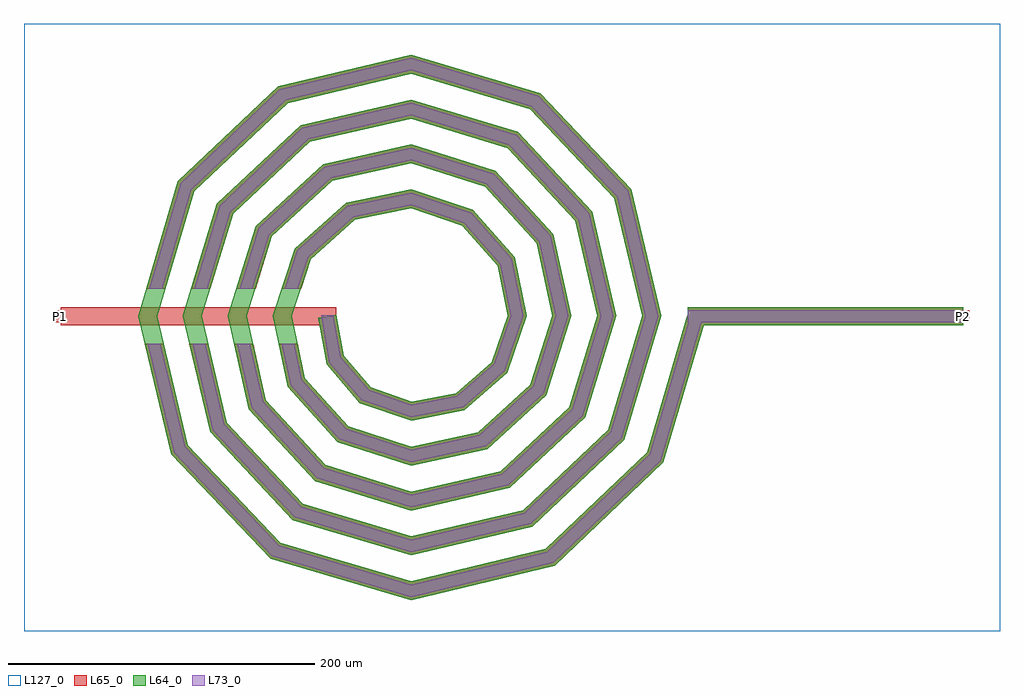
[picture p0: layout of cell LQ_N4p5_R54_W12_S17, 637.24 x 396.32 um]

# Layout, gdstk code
import gdstk
lib = gdstk.Library(unit=1e-6, precision=1e-09)
def R(c, l, rs):  # rectangles x0, y0, x1, y1
    for r in rs: c.add(gdstk.rectangle(r[:2], r[2:], *l))
def P(c, l, *ps):  # polygons
    for p in ps: c.add(gdstk.Polygon(p, *l))
L64_0 = (64, 0)
L65_0 = (65, 0)
L73_0 = (73, 0)
L127_0 = (127, 0)

lq_n4p5_r54_w12_s17 = lib.new_cell('LQ_N4p5_R54_W12_S17')
R(lq_n4p5_r54_w12_s17, L64_0, [(180.62,-6,360.62,6)])
P(lq_n4p5_r54_w12_s17, L64_0, [(-43.807,-25.864),(-26.245,-46.408),(0.456,-55.756),(29.48,-50.183),(52.73,-29.955),(63.087,0.408),(56.554,33.107),(33.657,59.058),(0.369,70.418),(-36.741,62.921),(-65.39,37.352),(-77.75,0.337),(-69.286,-40.381),(-41.043,-71.726),(0.31,-85.082),(44.024,-75.649),(78.064,-44.73),(92.414,0.287),(82.01,47.672),(48.414,84.403),(0.267,99.747),(-51.322,88.369),(-90.744,52.096),(-107.079,0.25),(-94.728,-54.974),(-55.776,-97.087),(0.235,-114.412),(58.627,-101.086),(103.43,-59.455),(121.745,0.221),(107.442,62.283),(63.132,109.775),(0.209,129.078),(-65.939,113.799),(-116.12,66.808),(-136.411,0.199),(-120.155,-69.597),(-70.484,-122.465),(0.189,-143.744),(73.255,-126.51),(128.811,-74.158),(151.077,0.18),(132.865,76.914),(77.832,135.158),(0.172,158.41),(-80.574,139.219),(-141.504,81.505),(-165.743,0.165),(-145.574,-84.234),(-85.177,-147.852),(0.158,-173.076),(87.895,-151.927),(154.199,-88.849),(180.864,1.695),(192.375,-1.695),(164.802,-95.326),(93.835,-162.839),(0.158,-185.496),(-91.665,-158.447),(-156.492,-90.163),(-178.163,0.165),(-152.093,88.004),(-86.49,150.144),(0.172,170.829),(84.344,145.738),(143.797,82.817),(163.496,0.18),(139.383,-80.684),(79.142,-137.451),(0.189,-156.162),(-77.025,-133.028),(-131.104,-75.468),(-148.829,0.199),(-126.671,73.367),(-71.792,124.758),(0.209,141.495),(69.71,120.315),(118.413,68.115),(134.162,0.221),(113.957,-66.054),(64.437,-112.068),(0.235,-126.828),(-62.399,-107.599),(-105.724,-60.757),(-119.494,0.25),(-101.24,58.746),(-57.076,99.381),(0.267,112.16),(55.095,94.88),(93.039,53.393),(104.826,0.287),(88.518,-51.446),(49.707,-86.699),(0.31,-97.492),(-47.799,-82.154),(-80.36,-46.017),(-90.157,0.337),(-75.788,44.157),(-42.324,74.023),(0.369,82.822),(40.519,69.418),(67.689,38.625),(75.487,0.408),(63.044,-36.887),(34.918,-61.358),(0.456,-68.151),(-33.264,-56.665),(-55.032,-31.201),(-60.523,-1.076),(-48.718,1.076)])
R(lq_n4p5_r54_w12_s17, L65_0, [(-228.62,-6,-48.62,6), (180.62,-6,360.62,6), (-232.62,-4,-224.62,4), (356.62,-4,364.62,4)])
P(lq_n4p5_r54_w12_s17, L65_0, [(-145.574,-84.235),(-85.177,-147.852),(0.158,-173.076),(87.895,-151.928),(154.199,-88.849),(180.864,1.695),(192.375,-1.695),(164.802,-95.326),(93.835,-162.839),(0.158,-185.496),(-91.665,-158.447),(-156.492,-90.163),(-173.805,-18),(-161.464,-18)],
  [(-120.155,-69.597),(-70.484,-122.465),(0.189,-143.744),(73.255,-126.51),(128.811,-74.158),(151.077,0.18),(132.865,76.914),(77.832,135.158),(0.172,158.41),(-80.574,139.219),(-141.505,81.505),(-160.352,18),(-172.87,18),(-152.093,88.004),(-86.49,150.144),(0.172,170.829),(84.344,145.738),(143.797,82.817),(163.496,0.18),(139.383,-80.684),(79.143,-137.451),(0.189,-156.162),(-77.025,-133.028),(-131.104,-75.468),(-144.566,-18),(-132.241,-18)],
  [(-94.728,-54.974),(-55.776,-97.087),(0.235,-114.412),(58.628,-101.086),(103.43,-59.455),(121.745,0.221),(107.443,62.283),(63.132,109.775),(0.209,129.078),(-65.939,113.799),(-116.12,66.808),(-130.9,18),(-143.438,18),(-126.672,73.367),(-71.792,124.758),(0.209,141.495),(69.71,120.315),(118.413,68.115),(134.162,0.221),(113.957,-66.054),(64.437,-112.068),(0.235,-126.828),(-62.399,-107.599),(-105.724,-60.757),(-115.375,-18),(-103.073,-18)],
  [(-69.286,-40.381),(-41.043,-71.726),(0.31,-85.082),(44.025,-75.649),(78.064,-44.73),(92.414,0.287),(82.01,47.672),(48.414,84.403),(0.267,99.747),(-51.322,88.369),(-90.744,52.096),(-101.384,18),(-113.955,18),(-101.24,58.746),(-57.076,99.381),(0.267,112.16),(55.095,94.88),(93.039,53.393),(104.826,0.287),(88.518,-51.446),(49.707,-86.699),(0.31,-97.492),(-47.8,-82.154),(-80.36,-46.017),(-86.282,-18),(-74.016,-18)],
  [(-26.245,-46.408),(0.457,-55.756),(29.48,-50.183),(52.73,-29.955),(63.087,0.408),(56.554,33.107),(33.657,59.058),(0.369,70.418),(-36.741,62.921),(-65.39,37.352),(-71.736,18),(-84.365,18),(-75.788,44.157),(-42.324,74.023),(0.369,82.823),(40.519,69.418),(67.689,38.625),(75.487,0.408),(63.045,-36.887),(34.918,-61.358),(0.457,-68.151),(-33.264,-56.665),(-55.032,-31.201),(-60.523,-1.076),(-48.718,1.076),(-43.807,-25.864)])
R(lq_n4p5_r54_w12_s17, L73_0, [(180.62,-4,360.62,4)])
P(lq_n4p5_r54_w12_s17, L73_0, [(-147.393,-85.223),(-86.259,-149.618),(0.105,-175.146),(88.885,-153.746),(155.966,-89.929),(182.783,1.13),(190.457,-1.13),(163.035,-94.246),(92.845,-161.021),(0.105,-183.426),(-90.583,-156.681),(-154.672,-89.175),(-171.748,-18),(-163.521,-18)],
  [(-121.98,-70.575),(-71.574,-124.226),(0.126,-145.814),(74.236,-128.333),(130.573,-75.246),(153.147,0.12),(134.687,77.898),(78.917,136.921),(0.115,160.48),(-81.56,141.04),(-143.269,82.588),(-162.438,18),(-170.783,18),(-150.328,86.921),(-85.504,148.324),(0.115,168.76),(83.258,143.975),(141.975,81.833),(161.426,0.12),(137.621,-79.596),(78.161,-135.627),(0.126,-154.093),(-75.935,-131.267),(-129.279,-74.489),(-142.512,-18),(-134.295,-18)],
  [(-96.561,-55.938),(-56.88,-98.839),(0.157,-116.481),(59.596,-102.916),(105.185,-60.555),(123.814,0.148),(109.271,63.255),(64.229,111.531),(0.14,131.148),(-66.915,115.625),(-117.878,67.901),(-132.99,18),(-141.348,18),(-124.913,72.274),(-70.816,122.932),(0.14,139.426),(68.614,118.558),(116.585,67.143),(132.092,0.148),(112.203,-64.954),(63.469,-110.238),(0.157,-124.759),(-61.295,-105.847),(-103.892,-59.794),(-113.325,-18),(-105.123,-18)],
  [(-71.132,-41.32),(-42.169,-73.464),(0.207,-87.15),(44.972,-77.49),(79.806,-45.849),(94.483,0.191),(83.848,48.625),(49.528,86.149),(0.178,101.816),(-52.281,90.205),(-92.494,53.205),(-103.48,18),(-111.86,18),(-99.491,57.638),(-56.117,97.546),(0.178,110.091),(53.981,93.134),(91.201,52.439),(102.757,0.191),(86.775,-50.326),(48.76,-84.857),(0.207,-95.424),(-46.673,-80.416),(-78.514,-45.078),(-84.237,-18),(-76.061,-18)],
  [(-27.415,-48.118),(0.304,-57.822),(30.387,-52.045),(54.449,-31.111),(65.153,0.272),(58.41,34.026),(34.801,60.785),(0.246,72.485),(-37.671,64.772),(-67.123,38.486),(-73.841,18),(-82.26,18),(-74.055,43.023),(-41.393,72.173),(0.246,80.755),(39.375,67.692),(65.833,37.705),(73.42,0.272),(61.325,-35.732),(34.012,-59.495),(0.304,-66.085),(-32.094,-54.955),(-53.161,-30.311),(-58.556,0.717),(-50.685,0.717),(-45.678,-26.754)])
R(lq_n4p5_r54_w12_s17, L127_0, [(-252.62,-205.496,384.62,190.829)])
lq_n4p5_r54_w12_s17.add(gdstk.Label('P2', (360.62,0), layer=65, texttype=0))
lq_n4p5_r54_w12_s17.add(gdstk.Label('P1', (-228.62,0), layer=65, texttype=0))
lq_n4p5_r54_w12_s17.add(gdstk.Label('P2', (364.62,0), layer=145, texttype=0))
lq_n4p5_r54_w12_s17.add(gdstk.Label('P1', (-232.62,0), layer=145, texttype=0))

lib.write_gds('LQ_N4p5_R54_W12_S17.gds')
